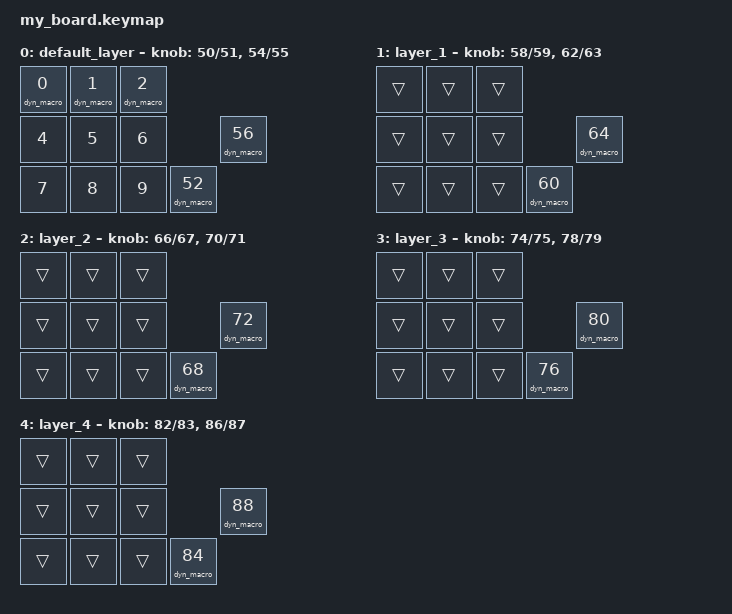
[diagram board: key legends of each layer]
#include <behaviors.dtsi>
#include <dt-bindings/zmk/keys.h>
#include <dt-bindings/zmk/bt.h>
#include <dt-bindings/zmk/outputs.h>
#include <dt-bindings/zmk/rgb.h>

/ {
    macros {
    };

    behaviors {
        dyn_macro: behavior_dynamic_macro {
            compatible = "zmk,behavior-dynamic-macro";
            #binding-cells = <1>;
        };


        inc_dec_mac: behavior_sensor_rotate_mac {
            compatible = "zmk,behavior-sensor-rotate-var";
            #sensor-binding-cells = <2>;
            bindings = <&dyn_macro>, <&dyn_macro>;
        };

    };

    combos {
        compatible = "zmk,combos";
//        combo_out_tog {
//            timeout-ms = <100>; // 100毫秒内同时按下生效 (更加宽容)
//            key-positions = <9 10>; // 对应第10和第11个按键（两个编码器的按压开关）
//            bindings = <&out_ht 0 0>; // 绑定到我们定义的5秒长按行为
//        };
    };

    keymap {
        compatible = "zmk,keymap";

        default_layer {
            bindings = <
                &dyn_macro 0 &dyn_macro 1 &dyn_macro 2
                &kp N4       &kp N5       &kp N6
                &kp N7       &kp N8       &kp N9
                
                &dyn_macro 52   &dyn_macro 56
            >;
            
            sensor-bindings = <&inc_dec_mac 50 51 &inc_dec_mac 54 55>;
        };

        layer_1 {
            bindings = <
                &trans &trans &trans
                &trans &trans &trans
                &trans &trans &trans
                
                &dyn_macro 60 &dyn_macro 64
            >;
            sensor-bindings = <&inc_dec_mac 58 59 &inc_dec_mac 62 63>;
        };

        layer_2 {
            bindings = <
                &trans &trans &trans
                &trans &trans &trans
                &trans &trans &trans
                
                &dyn_macro 68 &dyn_macro 72
            >;
            sensor-bindings = <&inc_dec_mac 66 67 &inc_dec_mac 70 71>;
        };

        layer_3 {
            bindings = <
                &trans &trans &trans
                &trans &trans &trans
                &trans &trans &trans
                
                &dyn_macro 76 &dyn_macro 80
            >;
            sensor-bindings = <&inc_dec_mac 74 75 &inc_dec_mac 78 79>;
        };

        layer_4 {
            bindings = <
                &trans &trans &trans
                &trans &trans &trans
                &trans &trans &trans
                
                &dyn_macro 84 &dyn_macro 88
            >;
            sensor-bindings = <&inc_dec_mac 82 83 &inc_dec_mac 86 87>;
        };
    };
};
